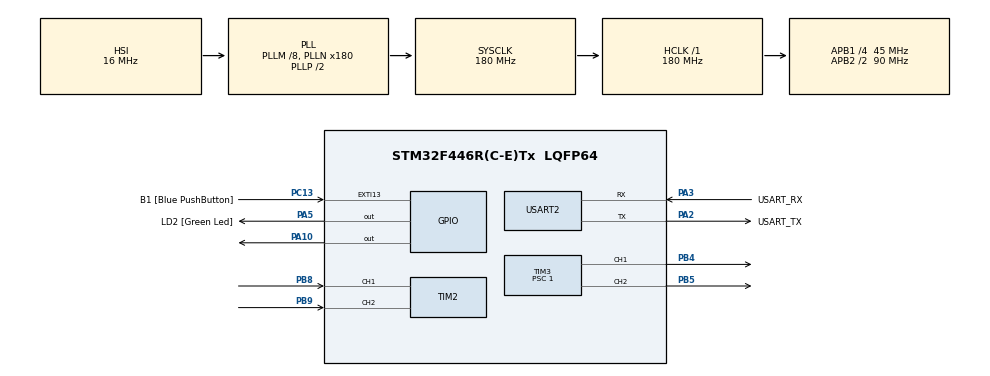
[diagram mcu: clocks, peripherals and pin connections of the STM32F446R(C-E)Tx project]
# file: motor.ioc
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Mcu.Family=STM32F4
Mcu.Name=STM32F446R(C-E)Tx
Mcu.Package=LQFP64
NVIC.PriorityGroup=NVIC_PRIORITYGROUP_0
NVIC.TIM2_IRQn=true\:0\:0\:false\:false\:true\:true\:true\:true
PA10.Signal=GPIO_Output
PA13.GPIO_Label=TMS
PA13.Mode=Serial_Wire
PA13.Signal=SYS_JTMS-SWDIO
PA14.GPIO_Label=TCK
PA14.Mode=Serial_Wire
PA14.Signal=SYS_JTCK-SWCLK
PA2.GPIO_Label=USART_TX
PA2.Mode=Asynchronous
PA2.Signal=USART2_TX
PA3.GPIO_Label=USART_RX
PA3.Mode=Asynchronous
PA3.Signal=USART2_RX
PA5.GPIO_Label=LD2 [Green Led]
PA5.Signal=GPIO_Output
PB3.GPIO_Label=SWO
PB3.Signal=SYS_JTDO-SWO
PB4.Signal=S_TIM3_CH1
PB5.Signal=S_TIM3_CH2
PB8.Signal=S_TIM2_CH1_ETR
PB9.Signal=S_TIM2_CH2
PC13.GPIO_Label=B1 [Blue PushButton]
PC13.GPIO_ModeDefaultEXTI=GPIO_MODE_IT_FALLING
PC13.Signal=GPXTI13
PC14-OSC32_IN.Mode=LSE-External-Oscillator
PC14-OSC32_IN.Signal=RCC_OSC32_IN
PC15-OSC32_OUT.Mode=LSE-External-Oscillator
PC15-OSC32_OUT.Signal=RCC_OSC32_OUT
PH0-OSC_IN.Mode=HSE-External-Oscillator
PH0-OSC_IN.Signal=RCC_OSC_IN
PH1-OSC_OUT.Mode=HSE-External-Oscillator
PH1-OSC_OUT.Signal=RCC_OSC_OUT
ProjectManager.HeapSize=0x200
ProjectManager.StackSize=0x400
ProjectManager.TargetToolchain=STM32CubeIDE
RCC.48MHZClocksFreq_Value=84000000
RCC.AHBFreq_Value=180000000
RCC.APB1CLKDivider=RCC_HCLK_DIV4
RCC.APB1Freq_Value=45000000
RCC.APB1TimFreq_Value=90000000
RCC.APB2CLKDivider=RCC_HCLK_DIV2
RCC.APB2Freq_Value=90000000
RCC.APB2TimFreq_Value=180000000
RCC.CortexFreq_Value=180000000
RCC.FLatency-AdvancedSettings=FLASH_LATENCY_5
RCC.HCLKFreq_Value=180000000
RCC.HSE_VALUE=8000000
RCC.HSI_VALUE=16000000
RCC.PLLM=8
RCC.PLLN=180
RCC.SYSCLKFreq_VALUE=180000000
RCC.SYSCLKSource=RCC_SYSCLKSOURCE_PLLCLK
RCC.USBFreq_Value=180000000
RCC.VCOOutputFreq_Value=360000000
SH.S_TIM2_CH1_ETR.0=TIM2_CH1,Encoder_Interface
SH.S_TIM2_CH2.0=TIM2_CH2,Encoder_Interface
SH.S_TIM3_CH1.0=TIM3_CH1,PWM Generation1 CH1
SH.S_TIM3_CH2.0=TIM3_CH2,PWM Generation2 CH2
TIM2.EncoderMode=TIM_ENCODERMODE_TI12
TIM3.Channel-PWM\ Generation1\ CH1=TIM_CHANNEL_1
TIM3.Channel-PWM\ Generation2\ CH2=TIM_CHANNEL_2
TIM3.Period=999
TIM3.Prescaler=1
USART2.VirtualMode=VM_ASYNC
board=NUCLEO-F446RE

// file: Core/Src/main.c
/* USER CODE BEGIN Header */
/**
  ******************************************************************************
  * @file           : main.c
  * @brief          : Main program body
  ******************************************************************************
  * @attention
  *
  * Copyright (c) 2024 STMicroelectronics.
  * All rights reserved.
  *
  * This software is licensed under terms that can be found in the LICENSE file
  * in the root directory of this software component.
  * If no LICENSE file comes with this software, it is provided AS-IS.
  *
  ******************************************************************************
  */
/* USER CODE END Header */
#include "main.h"

/* USER CODE BEGIN Includes */
#include "motor.h"
/* USER CODE END Includes */

/* USER CODE BEGIN PD */
#define N_DETECTIONS_PER_LAP 48.0
#define GEAR_BOX_RATIO 9.71
#define PS 1	// Valor del prescaler del timer
#define ARR 999 // Valor del regitro ARR del timer
/* USER CODE END PD */

TIM_HandleTypeDef htim2;
TIM_HandleTypeDef htim3;

UART_HandleTypeDef huart2;

void SystemClock_Config(void);
static void MX_GPIO_Init(void);
static void MX_USART2_UART_Init(void);
static void MX_TIM2_Init(void);
static void MX_TIM3_Init(void);

/* USER CODE BEGIN 0 */
uint32_t counter = 0;
double turnCounter = 0;

//void HAL_TIM_IC_CaptureCallback(TIM_HandleTypeDef *htim){

//}

/* USER CODE END 0 */

int main(void)
{

  /* MCU Configuration--------------------------------------------------------*/

  /* Reset of all peripherals, Initializes the Flash interface and the Systick. */
  HAL_Init();

  /* Configure the system clock */
  SystemClock_Config();

  /* Initialize all configured peripherals */
  MX_GPIO_Init();
  MX_USART2_UART_Init();
  MX_TIM2_Init();
  MX_TIM3_Init();
  /* USER CODE BEGIN 2 */

  /*
   * Source Clock = 90GHz
   * PS= 4
   * ARR = 449
   */
  Motor motor1 = init_motor(TIM3, htim3, TIM_CHANNEL_1, TIM_CHANNEL_2, GPIOA, GPIO_PIN_10, PS, ARR);

  HAL_TIM_Encoder_Start_IT(&htim2, TIM_CHANNEL_ALL);
  /* USER CODE END 2 */

  /* Infinite loop */
  /* USER CODE BEGIN WHILE */
  while (1)
  {
	  HAL_Delay(2000);
	  set_speed(motor1, 0);
	  HAL_Delay(2000);
	  set_speed(motor1, 0.25);
	  HAL_Delay(2000);
	  set_speed(motor1, 0.5);
	  HAL_Delay(2000);
	  set_speed(motor1, 0.75);
	  HAL_Delay(2000);
	  set_speed(motor1, 1);
	  HAL_Delay(2000);
	  set_speed(motor1, 0.5);

	counter = __HAL_TIM_GET_COUNTER(&htim2);
	turnCounter = ((double)counter )/ (N_DETECTIONS_PER_LAP * GEAR_BOX_RATIO);
    /* USER CODE END WHILE */

  }
}

void SystemClock_Config(void)
{
  RCC_OscInitTypeDef RCC_OscInitStruct = {0};
  RCC_ClkInitTypeDef RCC_ClkInitStruct = {0};

  /** Configure the main internal regulator output voltage
  */
  __HAL_RCC_PWR_CLK_ENABLE();
  __HAL_PWR_VOLTAGESCALING_CONFIG(PWR_REGULATOR_VOLTAGE_SCALE1);

  /** Initializes the RCC Oscillators according to the specified parameters
  * in the RCC_OscInitTypeDef structure.
  */
  RCC_OscInitStruct.OscillatorType = RCC_OSCILLATORTYPE_HSI;
  RCC_OscInitStruct.HSIState = RCC_HSI_ON;
  RCC_OscInitStruct.HSICalibrationValue = RCC_HSICALIBRATION_DEFAULT;
  RCC_OscInitStruct.PLL.PLLState = RCC_PLL_ON;
  RCC_OscInitStruct.PLL.PLLSource = RCC_PLLSOURCE_HSI;
  RCC_OscInitStruct.PLL.PLLM = 8;
  RCC_OscInitStruct.PLL.PLLN = 180;
  RCC_OscInitStruct.PLL.PLLP = RCC_PLLP_DIV2;
  RCC_OscInitStruct.PLL.PLLQ = 2;
  RCC_OscInitStruct.PLL.PLLR = 2;
  if (HAL_RCC_OscConfig(&RCC_OscInitStruct) != HAL_OK)
  {
    Error_Handler();
  }

  /** Activate the Over-Drive mode
  */
  if (HAL_PWREx_EnableOverDrive() != HAL_OK)
  {
    Error_Handler();
  }

  /** Initializes the CPU, AHB and APB buses clocks
  */
  RCC_ClkInitStruct.ClockType = RCC_CLOCKTYPE_HCLK|RCC_CLOCKTYPE_SYSCLK
                              |RCC_CLOCKTYPE_PCLK1|RCC_CLOCKTYPE_PCLK2;
  RCC_ClkInitStruct.SYSCLKSource = RCC_SYSCLKSOURCE_PLLCLK;
  RCC_ClkInitStruct.AHBCLKDivider = RCC_SYSCLK_DIV1;
  RCC_ClkInitStruct.APB1CLKDivider = RCC_HCLK_DIV4;
  RCC_ClkInitStruct.APB2CLKDivider = RCC_HCLK_DIV2;

  if (HAL_RCC_ClockConfig(&RCC_ClkInitStruct, FLASH_LATENCY_5) != HAL_OK)
  {
    Error_Handler();
  }
}

static void MX_TIM2_Init(void)
{

  TIM_Encoder_InitTypeDef sConfig = {0};
  TIM_MasterConfigTypeDef sMasterConfig = {0};

  htim2.Instance = TIM2;
  htim2.Init.Prescaler = 0;
  htim2.Init.CounterMode = TIM_COUNTERMODE_UP;
  htim2.Init.Period = 4294967295;
  htim2.Init.ClockDivision = TIM_CLOCKDIVISION_DIV1;
  htim2.Init.AutoReloadPreload = TIM_AUTORELOAD_PRELOAD_DISABLE;
  sConfig.EncoderMode = TIM_ENCODERMODE_TI12;
  sConfig.IC1Polarity = TIM_ICPOLARITY_RISING;
  sConfig.IC1Selection = TIM_ICSELECTION_DIRECTTI;
  sConfig.IC1Prescaler = TIM_ICPSC_DIV1;
  sConfig.IC1Filter = 0;
  sConfig.IC2Polarity = TIM_ICPOLARITY_RISING;
  sConfig.IC2Selection = TIM_ICSELECTION_DIRECTTI;
  sConfig.IC2Prescaler = TIM_ICPSC_DIV1;
  sConfig.IC2Filter = 0;
  if (HAL_TIM_Encoder_Init(&htim2, &sConfig) != HAL_OK)
  {
    Error_Handler();
  }
  sMasterConfig.MasterOutputTrigger = TIM_TRGO_RESET;
  sMasterConfig.MasterSlaveMode = TIM_MASTERSLAVEMODE_DISABLE;
  if (HAL_TIMEx_MasterConfigSynchronization(&htim2, &sMasterConfig) != HAL_OK)
  {
    Error_Handler();
  }

}

static void MX_TIM3_Init(void)
{

  TIM_MasterConfigTypeDef sMasterConfig = {0};
  TIM_OC_InitTypeDef sConfigOC = {0};

  htim3.Instance = TIM3;
  htim3.Init.Prescaler = 1;
  htim3.Init.CounterMode = TIM_COUNTERMODE_UP;
  htim3.Init.Period = 999;
  htim3.Init.ClockDivision = TIM_CLOCKDIVISION_DIV1;
  htim3.Init.AutoReloadPreload = TIM_AUTORELOAD_PRELOAD_DISABLE;
  if (HAL_TIM_PWM_Init(&htim3) != HAL_OK)
  {
    Error_Handler();
  }
  sMasterConfig.MasterOutputTrigger = TIM_TRGO_RESET;
  sMasterConfig.MasterSlaveMode = TIM_MASTERSLAVEMODE_DISABLE;
  if (HAL_TIMEx_MasterConfigSynchronization(&htim3, &sMasterConfig) != HAL_OK)
  {
    Error_Handler();
  }
  sConfigOC.OCMode = TIM_OCMODE_PWM1;
  sConfigOC.Pulse = 0;
  sConfigOC.OCPolarity = TIM_OCPOLARITY_HIGH;
  sConfigOC.OCFastMode = TIM_OCFAST_DISABLE;
  if (HAL_TIM_PWM_ConfigChannel(&htim3, &sConfigOC, TIM_CHANNEL_1) != HAL_OK)
  {
    Error_Handler();
  }
  if (HAL_TIM_PWM_ConfigChannel(&htim3, &sConfigOC, TIM_CHANNEL_2) != HAL_OK)
  {
    Error_Handler();
  }
  HAL_TIM_MspPostInit(&htim3);

}

static void MX_USART2_UART_Init(void)
{

  huart2.Instance = USART2;
  huart2.Init.BaudRate = 115200;
  huart2.Init.WordLength = UART_WORDLENGTH_8B;
  huart2.Init.StopBits = UART_STOPBITS_1;
  huart2.Init.Parity = UART_PARITY_NONE;
  huart2.Init.Mode = UART_MODE_TX_RX;
  huart2.Init.HwFlowCtl = UART_HWCONTROL_NONE;
  huart2.Init.OverSampling = UART_OVERSAMPLING_16;
  if (HAL_UART_Init(&huart2) != HAL_OK)
  {
    Error_Handler();
  }

}

static void MX_GPIO_Init(void)
{
  GPIO_InitTypeDef GPIO_InitStruct = {0};

  /* GPIO Ports Clock Enable */
  __HAL_RCC_GPIOC_CLK_ENABLE();
  __HAL_RCC_GPIOH_CLK_ENABLE();
  __HAL_RCC_GPIOA_CLK_ENABLE();
  __HAL_RCC_GPIOB_CLK_ENABLE();

  /*Configure GPIO pin Output Level */
  HAL_GPIO_WritePin(GPIOA, LD2_Pin|GPIO_PIN_10, GPIO_PIN_RESET);

  /*Configure GPIO pin : B1_Pin */
  GPIO_InitStruct.Pin = B1_Pin;
  GPIO_InitStruct.Mode = GPIO_MODE_IT_FALLING;
  GPIO_InitStruct.Pull = GPIO_NOPULL;
  HAL_GPIO_Init(B1_GPIO_Port, &GPIO_InitStruct);

  /*Configure GPIO pins : LD2_Pin PA10 */
  GPIO_InitStruct.Pin = LD2_Pin|GPIO_PIN_10;
  GPIO_InitStruct.Mode = GPIO_MODE_OUTPUT_PP;
  GPIO_InitStruct.Pull = GPIO_NOPULL;
  GPIO_InitStruct.Speed = GPIO_SPEED_FREQ_LOW;
  HAL_GPIO_Init(GPIOA, &GPIO_InitStruct);

}

void Error_Handler(void)
{
  __disable_irq();
  while (1)
  {
  }
}
